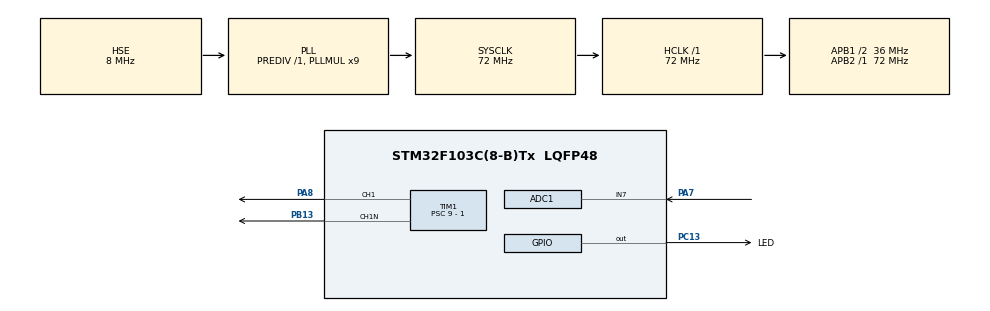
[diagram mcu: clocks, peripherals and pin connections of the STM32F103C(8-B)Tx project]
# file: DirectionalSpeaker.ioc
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ADC1.Channel-0\#ChannelRegularConversion=ADC_CHANNEL_7
ADC1.ExternalTrigConv=ADC_EXTERNALTRIGCONV_T3_TRGO
ADC1.NbrOfConversionFlag=1
ADC1.Rank-0\#ChannelRegularConversion=1
ADC1.SamplingTime-0\#ChannelRegularConversion=ADC_SAMPLETIME_71CYCLES_5
ADC1.master=1
Dma.ADC1.1.Direction=DMA_PERIPH_TO_MEMORY
Dma.ADC1.1.Instance=DMA1_Channel1
Dma.ADC1.1.MemDataAlignment=DMA_MDATAALIGN_HALFWORD
Dma.ADC1.1.MemInc=DMA_MINC_ENABLE
Dma.ADC1.1.Mode=DMA_CIRCULAR
Dma.ADC1.1.PeriphDataAlignment=DMA_PDATAALIGN_HALFWORD
Dma.ADC1.1.PeriphInc=DMA_PINC_DISABLE
Dma.ADC1.1.Priority=DMA_PRIORITY_LOW
Dma.Request0=TIM1_CH1
Dma.Request1=ADC1
Dma.TIM1_CH1.0.Direction=DMA_MEMORY_TO_PERIPH
Dma.TIM1_CH1.0.Instance=DMA1_Channel2
Dma.TIM1_CH1.0.MemDataAlignment=DMA_MDATAALIGN_HALFWORD
Dma.TIM1_CH1.0.MemInc=DMA_MINC_ENABLE
Dma.TIM1_CH1.0.Mode=DMA_NORMAL
Dma.TIM1_CH1.0.PeriphDataAlignment=DMA_PDATAALIGN_HALFWORD
Dma.TIM1_CH1.0.PeriphInc=DMA_PINC_DISABLE
Dma.TIM1_CH1.0.Priority=DMA_PRIORITY_VERY_HIGH
Mcu.Family=STM32F1
Mcu.Name=STM32F103C(8-B)Tx
Mcu.Package=LQFP48
NVIC.ADC1_2_IRQn=true\:0\:0\:false\:false\:true\:true\:true\:true
NVIC.DMA1_Channel1_IRQn=true\:0\:0\:false\:false\:true\:false\:true\:true
NVIC.DMA1_Channel2_IRQn=true\:0\:0\:false\:false\:true\:false\:true\:true
NVIC.PriorityGroup=NVIC_PRIORITYGROUP_4
PA13.Mode=Serial_Wire
PA13.Signal=SYS_JTMS-SWDIO
PA14.Mode=Serial_Wire
PA14.Signal=SYS_JTCK-SWCLK
PA7.Signal=ADCx_IN7
PA8.GPIO_Speed=GPIO_SPEED_FREQ_HIGH
PA8.Signal=S_TIM1_CH1
PB13.GPIO_Speed=GPIO_SPEED_FREQ_HIGH
PB13.Mode=PWM Generation1 CH1 CH1N
PB13.Signal=TIM1_CH1N
PC13-TAMPER-RTC.GPIO_Label=LED
PC13-TAMPER-RTC.Signal=GPIO_Output
PD0-OSC_IN.Mode=HSE-External-Oscillator
PD0-OSC_IN.Signal=RCC_OSC_IN
PD1-OSC_OUT.Mode=HSE-External-Oscillator
PD1-OSC_OUT.Signal=RCC_OSC_OUT
ProjectManager.HeapSize=0x200
ProjectManager.StackSize=0x400
ProjectManager.TargetToolchain=STM32CubeIDE
RCC.ADCPresc=RCC_ADCPCLK2_DIV6
RCC.AHBFreq_Value=72000000
RCC.APB1CLKDivider=RCC_HCLK_DIV2
RCC.APB1Freq_Value=36000000
RCC.APB1TimFreq_Value=72000000
RCC.APB2Freq_Value=72000000
RCC.APB2TimFreq_Value=72000000
RCC.HCLKFreq_Value=72000000
RCC.PLLMUL=RCC_PLL_MUL9
RCC.PLLSourceVirtual=RCC_PLLSOURCE_HSE
RCC.SYSCLKFreq_VALUE=72000000
RCC.SYSCLKSource=RCC_SYSCLKSOURCE_PLLCLK
RCC.USBFreq_Value=72000000
SH.ADCx_IN7.0=ADC1_IN7,IN7
SH.S_TIM1_CH1.0=TIM1_CH1,PWM Generation1 CH1 CH1N
TIM1.Channel-PWM\ Generation1\ CH1\ CH1N=TIM_CHANNEL_1
TIM1.OCIdleState_1=TIM_OCIDLESTATE_SET
TIM1.OCNIdleState_1=TIM_OCNIDLESTATE_SET
TIM1.OCNPolarity_1=TIM_OCNPOLARITY_HIGH
TIM1.Period=199 - 1
TIM1.Prescaler=9 - 1
TIM1.Pulse-PWM\ Generation1\ CH1\ CH1N=0
TIM3.Period=1800 - 1
TIM3.TIM_MasterOutputTrigger=TIM_TRGO_UPDATE
VP_TIM3_VS_ClockSourceINT.Mode=Internal
board=custom

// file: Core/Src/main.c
/* USER CODE BEGIN Header */
/**
  ******************************************************************************
  * @file           : main.c
  * @brief          : Main program body
  ******************************************************************************
  * @attention
  *
  * Copyright (c) 2024 STMicroelectronics.
  * All rights reserved.
  *
  * This software is licensed under terms that can be found in the LICENSE file
  * in the root directory of this software component.
  * If no LICENSE file comes with this software, it is provided AS-IS.
  *
  ******************************************************************************
  */
/* USER CODE END Header */
#include "main.h"

/* USER CODE BEGIN Includes */
#include <stdio.h>
#include <string.h>
#include <math.h>
#define NOTE_C4 262
#define NOTE_D4 294
#define NOTE_E4 330
#define NOTE_F4 349
#define NOTE_G4 392
#define NOTE_A4 440
#define NOTE_AS4 466
#define NOTE_C5 523
#define PI 3.14159
uint16_t IV[6000];

int melody[] = {
	NOTE_C4,
	NOTE_C4,
	NOTE_D4,
	NOTE_C4,
	NOTE_F4,
	NOTE_E4, // "Happy Birthday to You"
	NOTE_C4,
	NOTE_C4,
	NOTE_D4,
	NOTE_C4,
	NOTE_G4,
	NOTE_F4,
	// "Happy Birthday to You"
	NOTE_C4,
	NOTE_C4,
	NOTE_C5,
	NOTE_A4,
	NOTE_F4,
	NOTE_E4,
	NOTE_D4,
	// "Happy Birthday dear [Name]"
	NOTE_AS4,
	NOTE_AS4,
	NOTE_A4,
	NOTE_F4,
	NOTE_G4,
	NOTE_F4, // "Happy Birthday to You"
};

int noteDurations[] = {
	4,
	4,
	4,
	4,
	4,
	2,
	4,
	4,
	4,
	4,
	4,
	2,
	4,
	4,
	4,
	4,
	4,
	4,
	2,
	4,
	4,
	4,
	4,
	4,
	8,
};

const int sampleTime_us = 25; // Sample time in microseconds

uint16_t calculateSineWave(float freq)
{
	float increment = 2.0 * PI * freq / 1000000.0 * sampleTime_us;
	uint16_t size = (int)(1 / freq * 1000000.0 / sampleTime_us);

		for (int i = 0; i < size; i++)
		{
			IV[i] = (uint16_t) rint(900 + 499*(sinf(i * increment)));
		}
	return size;
}

/* USER CODE END Includes */

/* USER CODE BEGIN PTD */
int map(int data, int in_min, int in_max, int out_min, int out_max) {
	return (data - in_min) * (out_max - out_min) / (in_max - in_min) + out_min;
}

/* USER CODE END PTD */

ADC_HandleTypeDef hadc1;
DMA_HandleTypeDef hdma_adc1;

TIM_HandleTypeDef htim1;
TIM_HandleTypeDef htim3;
DMA_HandleTypeDef hdma_tim1_ch1;

void SystemClock_Config(void);
static void MX_GPIO_Init(void);
static void MX_DMA_Init(void);
static void MX_ADC1_Init(void);
static void MX_TIM1_Init(void);
static void MX_TIM3_Init(void);
/* USER CODE BEGIN PFP */
//#define ASR 6.79 //360 / 53
uint16_t Wave[2000];
uint16_t WaveBuffer[2000];
uint16_t Duty[2000];
uint16_t DutyBuffer[2000];
uint8_t ADCConvHalfCpltFlag = 0;
uint8_t ADCConvCpltFlag = 0;
uint8_t PWMPulseFinishCpltFlag = 0;
uint8_t PWMPulseFinishHalfCpltFlag = 0;
uint8_t DataHalfCplt = 0;
uint8_t DataCplt = 0;
/* USER CODE END PFP */

/* USER CODE BEGIN 0 */
void HAL_ADC_ConvHalfCpltCallback(ADC_HandleTypeDef* hadc)
{
	ADCConvHalfCpltFlag = 1;
}
void HAL_ADC_ConvCpltCallback(ADC_HandleTypeDef* hadc)
{
	ADCConvCpltFlag = 1;
}
void HAL_TIM_PWM_PulseFinishedHalfCpltCallback(TIM_HandleTypeDef *htim)
{
	PWMPulseFinishHalfCpltFlag = 1;
}
void HAL_TIM_PWM_PulseFinishedCallback(TIM_HandleTypeDef *htim)
{
	PWMPulseFinishCpltFlag = 1;
}

/* USER CODE END 0 */

int main(void)
{

  /* MCU Configuration--------------------------------------------------------*/

  /* Reset of all peripherals, Initializes the Flash interface and the Systick. */
  HAL_Init();

  /* Configure the system clock */
  SystemClock_Config();

  /* Initialize all configured peripherals */
  MX_GPIO_Init();
  MX_DMA_Init();
  MX_ADC1_Init();
  MX_TIM1_Init();
  MX_TIM3_Init();
  /* USER CODE BEGIN 2 */

	HAL_TIM_Base_Start(&htim3);
	HAL_ADCEx_Calibration_Start(&hadc1);
	HAL_ADC_Start_DMA(&hadc1, (uint32_t*)Wave, 2000);
	HAL_TIM_PWM_Start_DMA(&htim1, TIM_CHANNEL_1, (uint32_t*)Duty, 2000);
    HAL_TIMEx_PWMN_Start(&htim1, TIM_CHANNEL_1);

	int16_t ProcessedData = 0;
  /* USER CODE END 2 */

  /* Infinite loop */
  /* USER CODE BEGIN WHILE */
  while (1)
  {
	  if (ADCConvHalfCpltFlag || ADCConvCpltFlag)
	  {

		  uint16_t *ptrDuty = NULL;
		  size_t length =  sizeof(Wave)  / sizeof(uint16_t);
		  if (ADCConvHalfCpltFlag)
		  {
			  memcpy(WaveBuffer, Wave, (length / 2) * sizeof(uint16_t));
			  ptrDuty = DutyBuffer;
			  ADCConvHalfCpltFlag = 0;
			  DataHalfCplt = 1;
		  }
		  else if (ADCConvCpltFlag)
		  {
			  memcpy(WaveBuffer, Wave + (length / 2), (length / 2) * sizeof(uint16_t));
			  ptrDuty = DutyBuffer + length / 2;
			  ADCConvCpltFlag = 0;
			  DataCplt = 1;
		  }
		  for (uint16_t i = 0; i < length / 2; i++)
		  {
			  ProcessedData =  map(WaveBuffer[i], 0, 4095, -450, 450);
			  ptrDuty[i] = ProcessedData + 900;
		  }
	  }
	  if (PWMPulseFinishHalfCpltFlag || PWMPulseFinishCpltFlag)
	  {
		  size_t length =  sizeof(Wave)  / sizeof(uint16_t);
		  if (PWMPulseFinishHalfCpltFlag)
		  {
			  if (DataHalfCplt)
			  {
				  memcpy(Duty, DutyBuffer, (length / 2)*sizeof(uint16_t));
				  PWMPulseFinishHalfCpltFlag = 0;
				  DataHalfCplt = 0;
			  }
		  }

		  if (PWMPulseFinishCpltFlag == 1)
		  {
			  if (DataCplt)
			  {
				  memcpy(Duty + (length / 2), DutyBuffer + (length / 2), (length / 2)*sizeof(uint16_t));
				  PWMPulseFinishCpltFlag = 0;
				  DataCplt = 0;
			  }
		  }
	  }
    /* USER CODE END WHILE */

  }
}

void SystemClock_Config(void)
{
  RCC_OscInitTypeDef RCC_OscInitStruct = {0};
  RCC_ClkInitTypeDef RCC_ClkInitStruct = {0};
  RCC_PeriphCLKInitTypeDef PeriphClkInit = {0};

  /** Initializes the RCC Oscillators according to the specified parameters
  * in the RCC_OscInitTypeDef structure.
  */
  RCC_OscInitStruct.OscillatorType = RCC_OSCILLATORTYPE_HSE;
  RCC_OscInitStruct.HSEState = RCC_HSE_ON;
  RCC_OscInitStruct.HSEPredivValue = RCC_HSE_PREDIV_DIV1;
  RCC_OscInitStruct.HSIState = RCC_HSI_ON;
  RCC_OscInitStruct.PLL.PLLState = RCC_PLL_ON;
  RCC_OscInitStruct.PLL.PLLSource = RCC_PLLSOURCE_HSE;
  RCC_OscInitStruct.PLL.PLLMUL = RCC_PLL_MUL9;
  if (HAL_RCC_OscConfig(&RCC_OscInitStruct) != HAL_OK)
  {
    Error_Handler();
  }

  /** Initializes the CPU, AHB and APB buses clocks
  */
  RCC_ClkInitStruct.ClockType = RCC_CLOCKTYPE_HCLK|RCC_CLOCKTYPE_SYSCLK
                              |RCC_CLOCKTYPE_PCLK1|RCC_CLOCKTYPE_PCLK2;
  RCC_ClkInitStruct.SYSCLKSource = RCC_SYSCLKSOURCE_PLLCLK;
  RCC_ClkInitStruct.AHBCLKDivider = RCC_SYSCLK_DIV1;
  RCC_ClkInitStruct.APB1CLKDivider = RCC_HCLK_DIV2;
  RCC_ClkInitStruct.APB2CLKDivider = RCC_HCLK_DIV1;

  if (HAL_RCC_ClockConfig(&RCC_ClkInitStruct, FLASH_LATENCY_2) != HAL_OK)
  {
    Error_Handler();
  }
  PeriphClkInit.PeriphClockSelection = RCC_PERIPHCLK_ADC;
  PeriphClkInit.AdcClockSelection = RCC_ADCPCLK2_DIV6;
  if (HAL_RCCEx_PeriphCLKConfig(&PeriphClkInit) != HAL_OK)
  {
    Error_Handler();
  }
}

static void MX_ADC1_Init(void)
{

  ADC_ChannelConfTypeDef sConfig = {0};

  /** Common config
  */
  hadc1.Instance = ADC1;
  hadc1.Init.ScanConvMode = ADC_SCAN_DISABLE;
  hadc1.Init.ContinuousConvMode = DISABLE;
  hadc1.Init.DiscontinuousConvMode = DISABLE;
  hadc1.Init.ExternalTrigConv = ADC_EXTERNALTRIGCONV_T3_TRGO;
  hadc1.Init.DataAlign = ADC_DATAALIGN_RIGHT;
  hadc1.Init.NbrOfConversion = 1;
  if (HAL_ADC_Init(&hadc1) != HAL_OK)
  {
    Error_Handler();
  }

  /** Configure Regular Channel
  */
  sConfig.Channel = ADC_CHANNEL_7;
  sConfig.Rank = ADC_REGULAR_RANK_1;
  sConfig.SamplingTime = ADC_SAMPLETIME_71CYCLES_5;
  if (HAL_ADC_ConfigChannel(&hadc1, &sConfig) != HAL_OK)
  {
    Error_Handler();
  }

}

static void MX_TIM1_Init(void)
{

  TIM_MasterConfigTypeDef sMasterConfig = {0};
  TIM_OC_InitTypeDef sConfigOC = {0};
  TIM_BreakDeadTimeConfigTypeDef sBreakDeadTimeConfig = {0};

  htim1.Instance = TIM1;
  htim1.Init.Prescaler = 0;
  htim1.Init.CounterMode = TIM_COUNTERMODE_UP;
  htim1.Init.Period = 1800 - 1;
  htim1.Init.ClockDivision = TIM_CLOCKDIVISION_DIV1;
  htim1.Init.RepetitionCounter = 0;
  htim1.Init.AutoReloadPreload = TIM_AUTORELOAD_PRELOAD_DISABLE;
  if (HAL_TIM_PWM_Init(&htim1) != HAL_OK)
  {
    Error_Handler();
  }
  sMasterConfig.MasterOutputTrigger = TIM_TRGO_RESET;
  sMasterConfig.MasterSlaveMode = TIM_MASTERSLAVEMODE_DISABLE;
  if (HAL_TIMEx_MasterConfigSynchronization(&htim1, &sMasterConfig) != HAL_OK)
  {
    Error_Handler();
  }
  sConfigOC.OCMode = TIM_OCMODE_PWM1;
  sConfigOC.Pulse = 0;
  sConfigOC.OCPolarity = TIM_OCPOLARITY_HIGH;
  sConfigOC.OCNPolarity = TIM_OCNPOLARITY_HIGH;
  sConfigOC.OCFastMode = TIM_OCFAST_DISABLE;
  sConfigOC.OCIdleState = TIM_OCIDLESTATE_SET;
  sConfigOC.OCNIdleState = TIM_OCNIDLESTATE_SET;
  if (HAL_TIM_PWM_ConfigChannel(&htim1, &sConfigOC, TIM_CHANNEL_1) != HAL_OK)
  {
    Error_Handler();
  }
  sBreakDeadTimeConfig.OffStateRunMode = TIM_OSSR_DISABLE;
  sBreakDeadTimeConfig.OffStateIDLEMode = TIM_OSSI_DISABLE;
  sBreakDeadTimeConfig.LockLevel = TIM_LOCKLEVEL_OFF;
  sBreakDeadTimeConfig.DeadTime = 0;
  sBreakDeadTimeConfig.BreakState = TIM_BREAK_DISABLE;
  sBreakDeadTimeConfig.BreakPolarity = TIM_BREAKPOLARITY_HIGH;
  sBreakDeadTimeConfig.AutomaticOutput = TIM_AUTOMATICOUTPUT_DISABLE;
  if (HAL_TIMEx_ConfigBreakDeadTime(&htim1, &sBreakDeadTimeConfig) != HAL_OK)
  {
    Error_Handler();
  }
  HAL_TIM_MspPostInit(&htim1);

}

static void MX_TIM3_Init(void)
{

  TIM_ClockConfigTypeDef sClockSourceConfig = {0};
  TIM_MasterConfigTypeDef sMasterConfig = {0};

  htim3.Instance = TIM3;
  htim3.Init.Prescaler = 0;
  htim3.Init.CounterMode = TIM_COUNTERMODE_UP;
  htim3.Init.Period = 1800 - 1;
  htim3.Init.ClockDivision = TIM_CLOCKDIVISION_DIV1;
  htim3.Init.AutoReloadPreload = TIM_AUTORELOAD_PRELOAD_DISABLE;
  if (HAL_TIM_Base_Init(&htim3) != HAL_OK)
  {
    Error_Handler();
  }
  sClockSourceConfig.ClockSource = TIM_CLOCKSOURCE_INTERNAL;
  if (HAL_TIM_ConfigClockSource(&htim3, &sClockSourceConfig) != HAL_OK)
  {
    Error_Handler();
  }
  sMasterConfig.MasterOutputTrigger = TIM_TRGO_UPDATE;
  sMasterConfig.MasterSlaveMode = TIM_MASTERSLAVEMODE_DISABLE;
  if (HAL_TIMEx_MasterConfigSynchronization(&htim3, &sMasterConfig) != HAL_OK)
  {
    Error_Handler();
  }

}

static void MX_DMA_Init(void)
{

  /* DMA controller clock enable */
  __HAL_RCC_DMA1_CLK_ENABLE();

  /* DMA interrupt init */
  /* DMA1_Channel1_IRQn interrupt configuration */
  HAL_NVIC_SetPriority(DMA1_Channel1_IRQn, 0, 0);
  HAL_NVIC_EnableIRQ(DMA1_Channel1_IRQn);
  /* DMA1_Channel2_IRQn interrupt configuration */
  HAL_NVIC_SetPriority(DMA1_Channel2_IRQn, 0, 0);
  HAL_NVIC_EnableIRQ(DMA1_Channel2_IRQn);

}

static void MX_GPIO_Init(void)
{
  GPIO_InitTypeDef GPIO_InitStruct = {0};

  /* GPIO Ports Clock Enable */
  __HAL_RCC_GPIOC_CLK_ENABLE();
  __HAL_RCC_GPIOD_CLK_ENABLE();
  __HAL_RCC_GPIOA_CLK_ENABLE();
  __HAL_RCC_GPIOB_CLK_ENABLE();

  /*Configure GPIO pin Output Level */
  HAL_GPIO_WritePin(LED_GPIO_Port, LED_Pin, GPIO_PIN_RESET);

  /*Configure GPIO pin : LED_Pin */
  GPIO_InitStruct.Pin = LED_Pin;
  GPIO_InitStruct.Mode = GPIO_MODE_OUTPUT_PP;
  GPIO_InitStruct.Pull = GPIO_NOPULL;
  GPIO_InitStruct.Speed = GPIO_SPEED_FREQ_LOW;
  HAL_GPIO_Init(LED_GPIO_Port, &GPIO_InitStruct);

}

void Error_Handler(void)
{
  __disable_irq();
  while (1)
  {
  }
}
